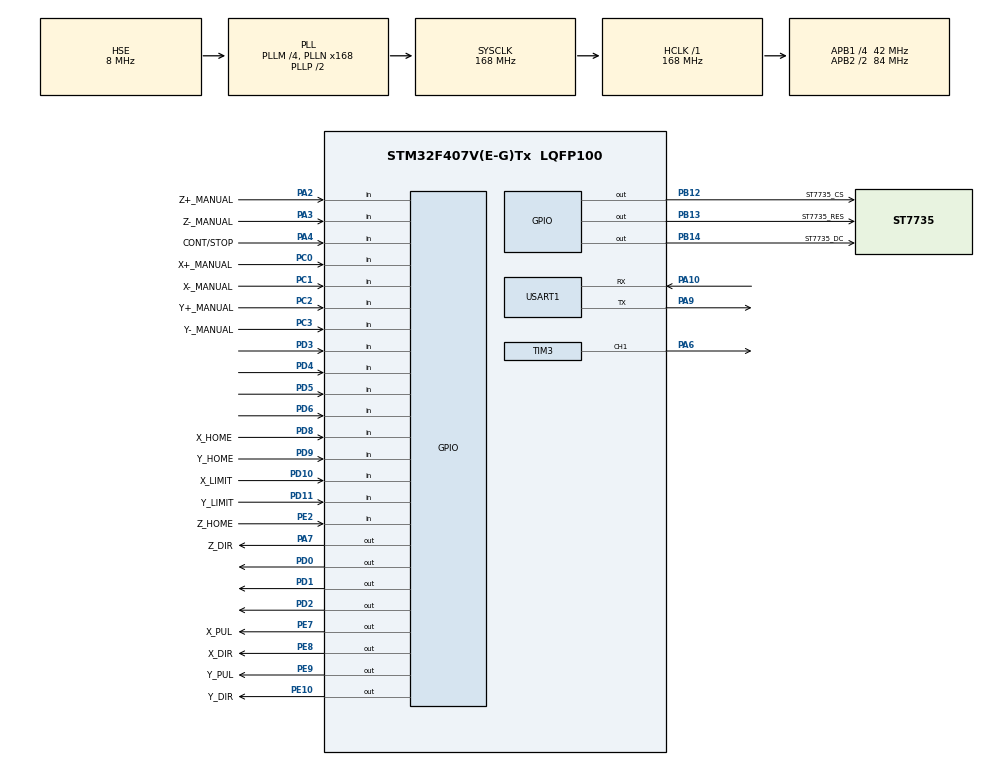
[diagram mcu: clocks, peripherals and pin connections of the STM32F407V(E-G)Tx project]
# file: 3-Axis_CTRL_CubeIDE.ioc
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Mcu.Family=STM32F4
Mcu.Name=STM32F407V(E-G)Tx
Mcu.Package=LQFP100
NVIC.PriorityGroup=NVIC_PRIORITYGROUP_4
NVIC.TIM2_IRQn=true\:0\:0\:false\:false\:true\:true\:true\:true
NVIC.TIM3_IRQn=true\:0\:0\:false\:false\:true\:true\:true\:true
NVIC.USART1_IRQn=true\:0\:0\:false\:false\:true\:true\:true\:true
PA10.Mode=Asynchronous
PA10.Signal=USART1_RX
PA13.Mode=Serial_Wire
PA13.Signal=SYS_JTMS-SWDIO
PA14.Mode=Serial_Wire
PA14.Signal=SYS_JTCK-SWCLK
PA2.GPIO_Label=Z+_MANUAL
PA2.GPIO_PuPd=GPIO_PULLUP
PA2.Signal=GPIO_Input
PA3.GPIO_Label=Z-_MANUAL
PA3.GPIO_PuPd=GPIO_PULLUP
PA3.Signal=GPIO_Input
PA4.GPIO_Label=CONT/STOP
PA4.GPIO_PuPd=GPIO_PULLUP
PA4.Signal=GPIO_Input
PA6.Signal=S_TIM3_CH1
PA7.GPIO_Label=Z_DIR
PA7.GPIO_Speed=GPIO_SPEED_FREQ_VERY_HIGH
PA7.Signal=GPIO_Output
PA9.Mode=Asynchronous
PA9.Signal=USART1_TX
PB12.GPIO_Label=ST7735_CS
PB12.GPIO_Speed=GPIO_SPEED_FREQ_HIGH
PB12.Signal=GPIO_Output
PB13.GPIO_Label=ST7735_RES
PB13.GPIO_Speed=GPIO_SPEED_FREQ_HIGH
PB13.Signal=GPIO_Output
PB14.GPIO_Label=ST7735_DC
PB14.GPIO_Speed=GPIO_SPEED_FREQ_HIGH
PB14.Signal=GPIO_Output
PC0.GPIO_Label=X+_MANUAL
PC0.GPIO_PuPd=GPIO_PULLUP
PC0.Signal=GPIO_Input
PC1.GPIO_Label=X-_MANUAL
PC1.GPIO_PuPd=GPIO_PULLUP
PC1.Signal=GPIO_Input
PC2.GPIO_Label=Y+_MANUAL
PC2.GPIO_PuPd=GPIO_PULLUP
PC2.Signal=GPIO_Input
PC3.GPIO_Label=Y-_MANUAL
PC3.GPIO_PuPd=GPIO_PULLUP
PC3.Signal=GPIO_Input
PD0.Signal=GPIO_Output
PD1.Signal=GPIO_Output
PD10.GPIO_Label=X_LIMIT
PD10.GPIO_PuPd=GPIO_PULLUP
PD10.Signal=GPIO_Input
PD11.GPIO_Label=Y_LIMIT
PD11.GPIO_PuPd=GPIO_PULLUP
PD11.Signal=GPIO_Input
PD2.Signal=GPIO_Output
PD3.GPIO_PuPd=GPIO_PULLUP
PD3.Signal=GPIO_Input
PD4.GPIO_PuPd=GPIO_PULLUP
PD4.Signal=GPIO_Input
PD5.GPIO_PuPd=GPIO_PULLUP
PD5.Signal=GPIO_Input
PD6.GPIO_PuPd=GPIO_PULLUP
PD6.Signal=GPIO_Input
PD8.GPIO_Label=X_HOME
PD8.GPIO_PuPd=GPIO_PULLUP
PD8.Signal=GPIO_Input
PD9.GPIO_Label=Y_HOME
PD9.GPIO_PuPd=GPIO_PULLUP
PD9.Signal=GPIO_Input
PE10.GPIO_Label=Y_DIR
PE10.GPIO_Speed=GPIO_SPEED_FREQ_VERY_HIGH
PE10.Signal=GPIO_Output
PE2.GPIO_Label=Z_HOME
PE2.Signal=GPIO_Input
PE7.GPIO_Label=X_PUL
PE7.GPIO_Speed=GPIO_SPEED_FREQ_VERY_HIGH
PE7.Signal=GPIO_Output
PE8.GPIO_Label=X_DIR
PE8.GPIO_Speed=GPIO_SPEED_FREQ_VERY_HIGH
PE8.Signal=GPIO_Output
PE9.GPIO_Label=Y_PUL
PE9.GPIO_Speed=GPIO_SPEED_FREQ_VERY_HIGH
PE9.Signal=GPIO_Output
PH0-OSC_IN.Mode=HSE-External-Oscillator
PH0-OSC_IN.Signal=RCC_OSC_IN
PH1-OSC_OUT.Mode=HSE-External-Oscillator
PH1-OSC_OUT.Signal=RCC_OSC_OUT
ProjectManager.HeapSize=0x200
ProjectManager.StackSize=0x400
ProjectManager.TargetToolchain=STM32CubeIDE
RCC.48MHZClocksFreq_Value=84000000
RCC.AHBFreq_Value=168000000
RCC.APB1CLKDivider=RCC_HCLK_DIV4
RCC.APB1Freq_Value=42000000
RCC.APB1TimFreq_Value=84000000
RCC.APB2CLKDivider=RCC_HCLK_DIV2
RCC.APB2Freq_Value=84000000
RCC.APB2TimFreq_Value=168000000
RCC.CortexFreq_Value=168000000
RCC.HCLKFreq_Value=168000000
RCC.HSE_VALUE=8000000
RCC.HSI_VALUE=16000000
RCC.LSE_VALUE=32768
RCC.PLLM=4
RCC.PLLN=168
RCC.PLLSourceVirtual=RCC_PLLSOURCE_HSE
RCC.SYSCLKFreq_VALUE=168000000
RCC.SYSCLKSource=RCC_SYSCLKSOURCE_PLLCLK
RCC.VCOOutputFreq_Value=336000000
SH.S_TIM3_CH1.0=TIM3_CH1,PWM Generation1 CH1
TIM2.AutoReloadPreload=TIM_AUTORELOAD_PRELOAD_ENABLE
TIM2.Period=999
TIM2.Prescaler=83
TIM3.AutoReloadPreload=TIM_AUTORELOAD_PRELOAD_ENABLE
TIM3.Channel-PWM\ Generation1\ CH1=TIM_CHANNEL_1
TIM3.Period=999
TIM3.Prescaler=83
USART1.VirtualMode=VM_ASYNC
VP_TIM2_VS_ClockSourceINT.Mode=Internal
VP_TIM3_VS_ClockSourceINT.Mode=Internal
board=custom

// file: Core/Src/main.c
/* USER CODE BEGIN Header */
/**
  ******************************************************************************
  * @file           : main.c
  * @brief          : Main program body
  ******************************************************************************
  * @attention
  *
  * Copyright (c) 2026 STMicroelectronics.
  * All rights reserved.
  *
  * This software is licensed under terms that can be found in the LICENSE file
  * in the root directory of this software component.
  * If no LICENSE file comes with this software, it is provided AS-IS.
  *
  ******************************************************************************
  */
/* USER CODE END Header */
#include "main.h"

/* USER CODE BEGIN Includes */
#include <stdlib.h>
#include <stdio.h>
#include <string.h>
#include <ctype.h>

#include "UART_parser.h"
#include "stepper_v3.h"
/* USER CODE END Includes */

/* USER CODE BEGIN PD */
#define BTN_HOMING_PORT  GPIOD
#define BTN_HOMING_PIN   GPIO_PIN_3  // Nút 1: PD3 -> Homing về gốc

#define BTN_RMLOCK_PORT  GPIOD
#define BTN_RMLOCK_PIN   GPIO_PIN_4  // Nút 2: PD4 -> Gửi lệnh RMLOCK lên RPi

#define BTN_AUTO15_PORT  GPIOD
#define BTN_AUTO15_PIN   GPIO_PIN_5  // Nút 3: PD5 -> Vào chế độ Auto 1.5s

#define BTN_AUTO30_PORT  GPIOD
#define BTN_AUTO30_PIN   GPIO_PIN_6  // Nút 4: PD6 -> Vào chế độ Auto 3s
/* USER CODE END PD */

TIM_HandleTypeDef htim2;
TIM_HandleTypeDef htim3;

UART_HandleTypeDef huart1;

/* USER CODE BEGIN PV */
Command_t my_cmd = {0};

// Vars for stop/continue button
volatile uint8_t is_paused = 0;
volatile uint8_t last_button_state = 1;

typedef enum {
    MODE_NORMAL = 0,    // Mặc định: Mở khóa Manual Jogging, nhận lệnh tự do
    MODE_AUTO_1_5S,     // Khóa Jogging, bắt tay với RPi (Delay 1.5s)
    MODE_AUTO_3S        // Khóa Jogging, bắt tay với RPi (Delay 3s)
} SystemMode_t;

volatile SystemMode_t current_mode = MODE_NORMAL;
uint32_t auto_delay_ms = 0;

/* USER CODE END PV */

void SystemClock_Config(void);
static void MX_GPIO_Init(void);
static void MX_TIM2_Init(void);
static void MX_TIM3_Init(void);
static void MX_USART1_UART_Init(void);
/* USER CODE BEGIN PFP */
void Machine_Wait_Until_Done(void);
void Update_CNC_Display(void);
void Machine_Button_Scan(void);
/* USER CODE END PFP */

int main(void)
{

  /* MCU Configuration--------------------------------------------------------*/

  /* Reset of all peripherals, Initializes the Flash interface and the Systick. */
  HAL_Init();

  /* Configure the system clock */
  SystemClock_Config();

  /* Initialize all configured peripherals */
  MX_GPIO_Init();
  MX_TIM2_Init();
  MX_TIM3_Init();
  MX_USART1_UART_Init();
  /* USER CODE BEGIN 2 */
  char wlc[] = "System ready\n";
  HAL_UART_Transmit(&huart1, (uint8_t*)wlc, strlen(wlc), 100);

  UART_Queue_Init(&huart1);

  /* USER CODE END 2 */

  /* Infinite loop */
  while (1)
  {

	    /* USER CODE BEGIN 3 */
	          // ==============================================================
	          // 1. LIÊN TỤC QUÉT 4 NÚT BẤM ĐỂ GỬI YÊU CẦU LÊN RPi
	          // ==============================================================
	          Machine_Button_Scan();

	          // ==============================================================
	          // 2. XỬ LÝ LỆNH G-CODE TỪ RPi GỬI XUỐNG
	          // ==============================================================
	          if (UART_Parse_Command(&my_cmd) == true && is_paused == 0)
	          {
	              char rcv_msg[] = "CMD received\n";
	              HAL_UART_Transmit(&huart1, (uint8_t*)rcv_msg, strlen(rcv_msg), 100);

	              // Viết hoa toàn bộ chuỗi lệnh
	              for (int i = 0; my_cmd.str[i] != '\0'; i++) {
	                  my_cmd.str[i] = toupper((unsigned char)my_cmd.str[i]);
	              }

	              // KIỂM TRA TỪ KHÓA "LAST" (Báo hiệu đây là lệnh cuối cùng của chu trình)
	              uint8_t is_last_cmd = (strstr(my_cmd.str, "LAST") != NULL) ? 1 : 0;

	              // ==========================================
	              // LỆNH RMLOCK: MỞ KHÓA MÁY
	              // ==========================================
	              if (strncmp(my_cmd.str, "RMLOCK", 6) == 0)
	              {
	                  system_alarm = 0; // MỞ KHÓA MÁY!
	                  if (is_last_cmd) {
	                      //HAL_UART_Transmit(&huart1, (uint8_t*)"FINISH\n", 7, 100);
	                      HAL_UART_Transmit(&huart1, (uint8_t*)"Machine Unlocked. Proceed with caution!\n", 40, 100);
	                  } else {
	                      HAL_UART_Transmit(&huart1, (uint8_t*)"Machine Unlocked. Proceed with caution!\n", 40, 100);
	                  }
	                  my_cmd.is_ready = false;
	              }
	              // ==========================================
	              // G0: HOMING
	              // ==========================================
	              else if (strncmp(my_cmd.str, "G0", 2) == 0)
	              {
	                  Stepper_Homing();       // Homing XY
	                  Stepper_Z_Homing_PWM(); // Homing Z

	                  if (is_last_cmd) {
	                      current_mode = MODE_NORMAL; // Khôi phục chế độ bình thường
	                      //HAL_UART_Transmit(&huart1, (uint8_t*)"FINISH\n", 7, 100);
	                      HAL_UART_Transmit(&huart1, (uint8_t*)"OK: Homing done\n", 16, 100);
	                  } else {
	                      char ack[] = "OK: Homing done\n";
	                      HAL_UART_Transmit(&huart1, (uint8_t*)ack, strlen(ack), 100);
	                  }
	                  my_cmd.is_ready = false;
	              }
	              // ==========================================
	              // G1: DI CHUYỂN TRỤC VÀ BẮT TAY AUTO
	              // ==========================================
	              else if (strncmp(my_cmd.str, "G1", 2) == 0)
	              {
	                  float target_x = current_target_x_mm;
	                  float target_y = current_target_y_mm;
	                  float target_z = current_target_z_deg;
	                  uint8_t move_xy = 0, move_z = 0;

	                  // Tách chuỗi tìm X, Y, Z
	                  char *ptr = my_cmd.str + 2;
	                  while (*ptr != '\0') {
	                      if (*ptr == 'X') { target_x = atof(ptr + 1); move_xy = 1; }
	                      else if (*ptr == 'Y') { target_y = atof(ptr + 1); move_xy = 1; }
	                      else if (*ptr == 'Z') { target_z = atof(ptr + 1); move_z = 1; }
	                      ptr++;
	                  }

	                  current_target_x_mm = target_x;
	                  current_target_y_mm = target_y;
	                  current_target_z_deg = target_z;

	                  if (move_z) { Stepper_Z_GoTo_Degree(target_z); }
	                  if (move_xy) { Stepper_GoTo_mm(target_x, target_y); }

	                  // Chờ động cơ chạy xong hoàn toàn
	                  Machine_Wait_Until_Done();

	                  // [BẮT TAY RPi]: Nếu đang ở Mode Auto thì phải phát lệnh SNAP chụp ảnh
	                  if (current_mode == MODE_AUTO_1_5S || current_mode == MODE_AUTO_3S)
	                  {
	                      HAL_UART_Transmit(&huart1, (uint8_t*)"SNAP\n", 5, 100); // Yêu cầu RPi chụp
	                      HAL_Delay(auto_delay_ms);                               // Đợi camera lưu ảnh

	                      if (is_last_cmd) {
	                          current_mode = MODE_NORMAL; // Chạy xong hết -> nhả máy về Normal
	                          HAL_UART_Transmit(&huart1, (uint8_t*)"FINISH\n", 7, 100); // Báo RPi hạ màn
	                      }
	                  }
	                  else
	                  {
	                      // Ở chế độ Normal thông thường (Manual)
	                      if (is_last_cmd) {
	                          HAL_UART_Transmit(&huart1, (uint8_t*)"FINISH\n", 7, 100);
	                      } else {
	                          char ack[] = "OK: Move done\n";
	                          HAL_UART_Transmit(&huart1, (uint8_t*)ack, strlen(ack), 100);
	                      }
	                  }
	                  my_cmd.is_ready = false;
	              }
	              // ==========================================
	              // G2, G3: NỘI SUY CUNG TRÒN
	              // ==========================================
	              else if (strncmp(my_cmd.str, "G2", 2) == 0 || strncmp(my_cmd.str, "G3", 2) == 0)
	              {
	                  uint8_t is_cw = (my_cmd.str[1] == '2');
	                  float target_x = current_target_x_mm;
	                  float target_y = current_target_y_mm;
	                  float offset_i = 0, offset_j = 0;
	                  uint8_t has_arc_data = 0;

	                  char *ptr = my_cmd.str + 2;
	                  while (*ptr != '\0') {
	                      if (*ptr == 'X') { target_x = atof(ptr + 1); }
	                      else if (*ptr == 'Y') { target_y = atof(ptr + 1); }
	                      else if (*ptr == 'I') { offset_i = atof(ptr + 1); has_arc_data = 1; }
	                      else if (*ptr == 'J') { offset_j = atof(ptr + 1); has_arc_data = 1; }
	                      ptr++;
	                  }

	                  if (has_arc_data) {
	                      Stepper_Arc_mm(target_x, target_y, offset_i, offset_j, is_cw);
	                  }

	                  Machine_Wait_Until_Done();

	                  if (is_last_cmd) {
	                      current_mode = MODE_NORMAL;
	                      HAL_UART_Transmit(&huart1, (uint8_t*)"FINISH\n", 7, 100);
	                  } else {
	                      char ack[] = "ok: Arc Move done\n";
	                      HAL_UART_Transmit(&huart1, (uint8_t*)ack, strlen(ack), 100);
	                  }
	                  my_cmd.is_ready = false;
	              }
	              // ==========================================
	              // LỆNH LỖI / KHÔNG HỢP LỆ
	              // ==========================================
	              else
	              {
	                  char err[] = "error: Unknown command\n";
	                  HAL_UART_Transmit(&huart1, (uint8_t*)err, strlen(err), 100);
	                  my_cmd.is_ready = false;
	              }
	          }

	          // ==============================================================
	          // 3. XỬ LÝ BẺ TAY MANUAL JOGGING (CÓ KHÓA AN TOÀN)
	          // ==============================================================
	          // THÊM ĐIỀU KIỆN 'current_mode == MODE_NORMAL' ĐỂ KHÓA MANUAL KHI CHẠY AUTO
	          if (current_mode == MODE_NORMAL && step_count == 0 && z_step_count == 0 && my_cmd.is_ready == false && is_paused == 0)
	          {
	              int16_t move_x = 0;
	              int16_t move_y = 0;
	              float move_z = 0;

	              // 1. Quét trạng thái nút bấm X, Y
	              if (HAL_GPIO_ReadPin(GPIOC, GPIO_PIN_0) == GPIO_PIN_RESET) move_x = 40;
	              else if (HAL_GPIO_ReadPin(GPIOC, GPIO_PIN_1) == GPIO_PIN_RESET) move_x = -40;

	              if (HAL_GPIO_ReadPin(GPIOC, GPIO_PIN_2) == GPIO_PIN_RESET) move_y = 40;
	              else if (HAL_GPIO_ReadPin(GPIOC, GPIO_PIN_3) == GPIO_PIN_RESET) move_y = -40;

	              // 2. Quét trạng thái nút bấm Z (PA2, PA3)
	              if (HAL_GPIO_ReadPin(GPIOA, GPIO_PIN_2) == GPIO_PIN_RESET) move_z = 1.0f;
	              else if (HAL_GPIO_ReadPin(GPIOA, GPIO_PIN_3) == GPIO_PIN_RESET) move_z = -1.0f;

	              // 3. Ra lệnh chạy trục XY
	              if (move_x != 0 || move_y != 0)
	              {
	                  Stepper_Run_2D(move_x, move_y);
	                  current_target_x_mm = (float)current_pos_x / STEPS_PER_MM_X;
	                  current_target_y_mm = (float)current_pos_y / STEPS_PER_MM_Y;
	              }

	              // 4. Ra lệnh chạy trục Z
	              if (move_z != 0)
	              {
	                  float new_target_z = current_target_z_deg + move_z;
	                  Stepper_Z_GoTo_Degree(new_target_z);
	                  current_target_z_deg = new_target_z;
	              }
	          }
	    }
	    /* USER CODE END 3 */
}

void SystemClock_Config(void)
{
  RCC_OscInitTypeDef RCC_OscInitStruct = {0};
  RCC_ClkInitTypeDef RCC_ClkInitStruct = {0};

  /** Configure the main internal regulator output voltage
  */
  __HAL_RCC_PWR_CLK_ENABLE();
  __HAL_PWR_VOLTAGESCALING_CONFIG(PWR_REGULATOR_VOLTAGE_SCALE1);

  /** Initializes the RCC Oscillators according to the specified parameters
  * in the RCC_OscInitTypeDef structure.
  */
  RCC_OscInitStruct.OscillatorType = RCC_OSCILLATORTYPE_HSE;
  RCC_OscInitStruct.HSEState = RCC_HSE_ON;
  RCC_OscInitStruct.PLL.PLLState = RCC_PLL_ON;
  RCC_OscInitStruct.PLL.PLLSource = RCC_PLLSOURCE_HSE;
  RCC_OscInitStruct.PLL.PLLM = 4;
  RCC_OscInitStruct.PLL.PLLN = 168;
  RCC_OscInitStruct.PLL.PLLP = RCC_PLLP_DIV2;
  RCC_OscInitStruct.PLL.PLLQ = 4;
  if (HAL_RCC_OscConfig(&RCC_OscInitStruct) != HAL_OK)
  {
    Error_Handler();
  }

  /** Initializes the CPU, AHB and APB buses clocks
  */
  RCC_ClkInitStruct.ClockType = RCC_CLOCKTYPE_HCLK|RCC_CLOCKTYPE_SYSCLK
                              |RCC_CLOCKTYPE_PCLK1|RCC_CLOCKTYPE_PCLK2;
  RCC_ClkInitStruct.SYSCLKSource = RCC_SYSCLKSOURCE_PLLCLK;
  RCC_ClkInitStruct.AHBCLKDivider = RCC_SYSCLK_DIV1;
  RCC_ClkInitStruct.APB1CLKDivider = RCC_HCLK_DIV4;
  RCC_ClkInitStruct.APB2CLKDivider = RCC_HCLK_DIV2;

  if (HAL_RCC_ClockConfig(&RCC_ClkInitStruct, FLASH_LATENCY_5) != HAL_OK)
  {
    Error_Handler();
  }
}

static void MX_TIM2_Init(void)
{

  TIM_ClockConfigTypeDef sClockSourceConfig = {0};
  TIM_MasterConfigTypeDef sMasterConfig = {0};

  htim2.Instance = TIM2;
  htim2.Init.Prescaler = 83;
  htim2.Init.CounterMode = TIM_COUNTERMODE_UP;
  htim2.Init.Period = 999;
  htim2.Init.ClockDivision = TIM_CLOCKDIVISION_DIV1;
  htim2.Init.AutoReloadPreload = TIM_AUTORELOAD_PRELOAD_ENABLE;
  if (HAL_TIM_Base_Init(&htim2) != HAL_OK)
  {
    Error_Handler();
  }
  sClockSourceConfig.ClockSource = TIM_CLOCKSOURCE_INTERNAL;
  if (HAL_TIM_ConfigClockSource(&htim2, &sClockSourceConfig) != HAL_OK)
  {
    Error_Handler();
  }
  sMasterConfig.MasterOutputTrigger = TIM_TRGO_RESET;
  sMasterConfig.MasterSlaveMode = TIM_MASTERSLAVEMODE_DISABLE;
  if (HAL_TIMEx_MasterConfigSynchronization(&htim2, &sMasterConfig) != HAL_OK)
  {
    Error_Handler();
  }

}

static void MX_TIM3_Init(void)
{

  TIM_ClockConfigTypeDef sClockSourceConfig = {0};
  TIM_MasterConfigTypeDef sMasterConfig = {0};
  TIM_OC_InitTypeDef sConfigOC = {0};

  htim3.Instance = TIM3;
  htim3.Init.Prescaler = 83;
  htim3.Init.CounterMode = TIM_COUNTERMODE_UP;
  htim3.Init.Period = 999;
  htim3.Init.ClockDivision = TIM_CLOCKDIVISION_DIV1;
  htim3.Init.AutoReloadPreload = TIM_AUTORELOAD_PRELOAD_ENABLE;
  if (HAL_TIM_Base_Init(&htim3) != HAL_OK)
  {
    Error_Handler();
  }
  sClockSourceConfig.ClockSource = TIM_CLOCKSOURCE_INTERNAL;
  if (HAL_TIM_ConfigClockSource(&htim3, &sClockSourceConfig) != HAL_OK)
  {
    Error_Handler();
  }
  if (HAL_TIM_PWM_Init(&htim3) != HAL_OK)
  {
    Error_Handler();
  }
  sMasterConfig.MasterOutputTrigger = TIM_TRGO_RESET;
  sMasterConfig.MasterSlaveMode = TIM_MASTERSLAVEMODE_DISABLE;
  if (HAL_TIMEx_MasterConfigSynchronization(&htim3, &sMasterConfig) != HAL_OK)
  {
    Error_Handler();
  }
  sConfigOC.OCMode = TIM_OCMODE_PWM1;
  sConfigOC.Pulse = 0;
  sConfigOC.OCPolarity = TIM_OCPOLARITY_HIGH;
  sConfigOC.OCFastMode = TIM_OCFAST_DISABLE;
  if (HAL_TIM_PWM_ConfigChannel(&htim3, &sConfigOC, TIM_CHANNEL_1) != HAL_OK)
  {
    Error_Handler();
  }
  HAL_TIM_MspPostInit(&htim3);

}

static void MX_USART1_UART_Init(void)
{

  huart1.Instance = USART1;
  huart1.Init.BaudRate = 115200;
  huart1.Init.WordLength = UART_WORDLENGTH_8B;
  huart1.Init.StopBits = UART_STOPBITS_1;
  huart1.Init.Parity = UART_PARITY_NONE;
  huart1.Init.Mode = UART_MODE_TX_RX;
  huart1.Init.HwFlowCtl = UART_HWCONTROL_NONE;
  huart1.Init.OverSampling = UART_OVERSAMPLING_16;
  if (HAL_UART_Init(&huart1) != HAL_OK)
  {
    Error_Handler();
  }

}

static void MX_GPIO_Init(void)
{
  GPIO_InitTypeDef GPIO_InitStruct = {0};

  /* GPIO Ports Clock Enable */
  __HAL_RCC_GPIOE_CLK_ENABLE();
  __HAL_RCC_GPIOH_CLK_ENABLE();
  __HAL_RCC_GPIOC_CLK_ENABLE();
  __HAL_RCC_GPIOA_CLK_ENABLE();
  __HAL_RCC_GPIOB_CLK_ENABLE();
  __HAL_RCC_GPIOD_CLK_ENABLE();

  /*Configure GPIO pin Output Level */
  HAL_GPIO_WritePin(Z_DIR_GPIO_Port, Z_DIR_Pin, GPIO_PIN_RESET);

  /*Configure GPIO pin Output Level */
  HAL_GPIO_WritePin(GPIOE, X_PUL_Pin|X_DIR_Pin|Y_PUL_Pin|Y_DIR_Pin, GPIO_PIN_RESET);

  /*Configure GPIO pin Output Level */
  HAL_GPIO_WritePin(GPIOB, ST7735_CS_Pin|ST7735_RES_Pin|ST7735_DC_Pin, GPIO_PIN_RESET);

  /*Configure GPIO pin Output Level */
  HAL_GPIO_WritePin(GPIOD, GPIO_PIN_0|GPIO_PIN_1|GPIO_PIN_2, GPIO_PIN_RESET);

  /*Configure GPIO pin : Z_HOME_Pin */
  GPIO_InitStruct.Pin = Z_HOME_Pin;
  GPIO_InitStruct.Mode = GPIO_MODE_INPUT;
  GPIO_InitStruct.Pull = GPIO_NOPULL;
  HAL_GPIO_Init(Z_HOME_GPIO_Port, &GPIO_InitStruct);

  /*Configure GPIO pins : X__MANUAL_Pin X__MANUALC1_Pin Y__MANUAL_Pin Y__MANUALC3_Pin */
  GPIO_InitStruct.Pin = X__MANUAL_Pin|X__MANUALC1_Pin|Y__MANUAL_Pin|Y__MANUALC3_Pin;
  GPIO_InitStruct.Mode = GPIO_MODE_INPUT;
  GPIO_InitStruct.Pull = GPIO_PULLUP;
  HAL_GPIO_Init(GPIOC, &GPIO_InitStruct);

  /*Configure GPIO pins : Z__MANUAL_Pin Z__MANUALA3_Pin CONT_STOP_Pin */
  GPIO_InitStruct.Pin = Z__MANUAL_Pin|Z__MANUALA3_Pin|CONT_STOP_Pin;
  GPIO_InitStruct.Mode = GPIO_MODE_INPUT;
  GPIO_InitStruct.Pull = GPIO_PULLUP;
  HAL_GPIO_Init(GPIOA, &GPIO_InitStruct);

  /*Configure GPIO pin : Z_DIR_Pin */
  GPIO_InitStruct.Pin = Z_DIR_Pin;
  GPIO_InitStruct.Mode = GPIO_MODE_OUTPUT_PP;
  GPIO_InitStruct.Pull = GPIO_NOPULL;
  GPIO_InitStruct.Speed = GPIO_SPEED_FREQ_VERY_HIGH;
  HAL_GPIO_Init(Z_DIR_GPIO_Port, &GPIO_InitStruct);

  /*Configure GPIO pins : X_PUL_Pin X_DIR_Pin Y_PUL_Pin Y_DIR_Pin */
  GPIO_InitStruct.Pin = X_PUL_Pin|X_DIR_Pin|Y_PUL_Pin|Y_DIR_Pin;
  GPIO_InitStruct.Mode = GPIO_MODE_OUTPUT_PP;
  GPIO_InitStruct.Pull = GPIO_NOPULL;
  GPIO_InitStruct.Speed = GPIO_SPEED_FREQ_VERY_HIGH;
  HAL_GPIO_Init(GPIOE, &GPIO_InitStruct);

  /*Configure GPIO pins : ST7735_CS_Pin ST7735_RES_Pin ST7735_DC_Pin */
  GPIO_InitStruct.Pin = ST7735_CS_Pin|ST7735_RES_Pin|ST7735_DC_Pin;
  GPIO_InitStruct.Mode = GPIO_MODE_OUTPUT_PP;
  GPIO_InitStruct.Pull = GPIO_NOPULL;
  GPIO_InitStruct.Speed = GPIO_SPEED_FREQ_HIGH;
  HAL_GPIO_Init(GPIOB, &GPIO_InitStruct);

  /*Configure GPIO pins : X_HOME_Pin Y_HOME_Pin X_LIMIT_Pin Y_LIMIT_Pin
                           PD3 PD4 PD5 PD6 */
  GPIO_InitStruct.Pin = X_HOME_Pin|Y_HOME_Pin|X_LIMIT_Pin|Y_LIMIT_Pin
                          |GPIO_PIN_3|GPIO_PIN_4|GPIO_PIN_5|GPIO_PIN_6;
  GPIO_InitStruct.Mode = GPIO_MODE_INPUT;
  GPIO_InitStruct.Pull = GPIO_PULLUP;
  HAL_GPIO_Init(GPIOD, &GPIO_InitStruct);

  /*Configure GPIO pins : PD0 PD1 PD2 */
  GPIO_InitStruct.Pin = GPIO_PIN_0|GPIO_PIN_1|GPIO_PIN_2;
  GPIO_InitStruct.Mode = GPIO_MODE_OUTPUT_PP;
  GPIO_InitStruct.Pull = GPIO_NOPULL;
  GPIO_InitStruct.Speed = GPIO_SPEED_FREQ_LOW;
  HAL_GPIO_Init(GPIOD, &GPIO_InitStruct);

}

/* USER CODE BEGIN 4 */
/**
  * @brief  Hàm trợ lý cập nhật tọa độ 3 trục lên màn hình TFT bằng DMA (Định thời non-blocking)
  * 		Đồng thời cập nhật trạng thái is-paused = 0/1;
  */
void Machine_Wait_Until_Done(void)
{
    while (z_step_count > 0 || step_count > 0)
    {
        uint8_t current_button_state = HAL_GPIO_ReadPin(GPIOA, GPIO_PIN_4);

		if (system_alarm == 1)
        {
            break;
        }
        if (current_button_state == GPIO_PIN_RESET && last_button_state == GPIO_PIN_SET)
        {
            HAL_Delay(50);
            if (HAL_GPIO_ReadPin(GPIOA, GPIO_PIN_4) == GPIO_PIN_RESET)
            {
                if (is_paused == 0) {
                    HAL_TIM_Base_Stop_IT(&htim2);
                    HAL_TIM_PWM_Stop_IT(&htim3, TIM_CHANNEL_1);
                    is_paused = 1;
                    HAL_UART_Transmit(&huart1, (uint8_t*)"EVENT: Machine Paused\n", 22, 100);
                } else {
                    is_paused = 0;
                    if (step_count > 0) HAL_TIM_Base_Start_IT(&htim2);
                    if (z_step_count > 0) HAL_TIM_PWM_Start_IT(&htim3, TIM_CHANNEL_1);
                    HAL_UART_Transmit(&huart1, (uint8_t*)"EVENT: Machine Resumed\n", 23, 100);
                }
            }
        }
        last_button_state = current_button_state;

        while (is_paused == 1)
        {
            if (HAL_GPIO_ReadPin(GPIOA, GPIO_PIN_4) == GPIO_PIN_RESET)
            {
                HAL_Delay(50);
                if (HAL_GPIO_ReadPin(GPIOA, GPIO_PIN_4) == GPIO_PIN_RESET)
                {
                    is_paused = 0;
                    if (step_count > 0) HAL_TIM_Base_Start_IT(&htim2);
                    if (z_step_count > 0) HAL_TIM_PWM_Start_IT(&htim3, TIM_CHANNEL_1);
                    HAL_UART_Transmit(&huart1, (uint8_t*)"EVENT: Machine Resumed\n", 23, 100);
                    HAL_Delay(200);
                }
            }
        }
    }
}

/**
 * brief
 * Hàm này để xử lý state khi nhấn các nút PD3-7
 */
void Machine_Button_Scan(void) {
    // ---- NÚT 1: YÊU CẦU HOMING (PD3) ----
    if (HAL_GPIO_ReadPin(BTN_HOMING_PORT, BTN_HOMING_PIN) == GPIO_PIN_RESET) {
        HAL_Delay(20); // Chống rung
        if (HAL_GPIO_ReadPin(BTN_HOMING_PORT, BTN_HOMING_PIN) == GPIO_PIN_RESET) {
            //HAL_UART_Transmit(&huart1, (uint8_t*)"REQ:HOMING\n", 11, 100);
            Stepper_Homing();       // Homing XY
            Stepper_Z_Homing_PWM(); // Homing Z
            while (HAL_GPIO_ReadPin(BTN_HOMING_PORT, BTN_HOMING_PIN) == GPIO_PIN_RESET);

        }
    }

    // ---- NÚT 2: YÊU CẦU RMLOCK TRÊN UI (PD4) ----
    if (HAL_GPIO_ReadPin(BTN_RMLOCK_PORT, BTN_RMLOCK_PIN) == GPIO_PIN_RESET) {
        HAL_Delay(20);
        if (HAL_GPIO_ReadPin(BTN_RMLOCK_PORT, BTN_RMLOCK_PIN) == GPIO_PIN_RESET) {
            //HAL_UART_Transmit(&huart1, (uint8_t*)"REQ:RMLOCK\n", 11, 100);
            system_alarm = 0;
            HAL_UART_Transmit(&huart1, (uint8_t*)"Machine Unlocked. Proceed with caution!\n", 40, 100);
            while (HAL_GPIO_ReadPin(BTN_RMLOCK_PORT, BTN_RMLOCK_PIN) == GPIO_PIN_RESET);
        }
    }

    // ---- NÚT 3: YÊU CẦU CHẠY CHU TRÌNH AUTO 1.5S (PD5) ----
    if (HAL_GPIO_ReadPin(BTN_AUTO15_PORT, BTN_AUTO15_PIN) == GPIO_PIN_RESET) {
        HAL_Delay(20);
        if (HAL_GPIO_ReadPin(BTN_AUTO15_PORT, BTN_AUTO15_PIN) == GPIO_PIN_RESET) {
            current_mode = MODE_AUTO_1_5S;
            auto_delay_ms = 1500;
            HAL_UART_Transmit(&huart1, (uint8_t*)"REQ:AUTO_1.5S\n", 14, 100);
            while (HAL_GPIO_ReadPin(BTN_AUTO15_PORT, BTN_AUTO15_PIN) == GPIO_PIN_RESET);
        }
    }

    // ---- NÚT 4: YÊU CẦU CHẠY CHU TRÌNH AUTO 3S (PD6) ----
    if (HAL_GPIO_ReadPin(BTN_AUTO30_PORT, BTN_AUTO30_PIN) == GPIO_PIN_RESET) {
        HAL_Delay(20);
        if (HAL_GPIO_ReadPin(BTN_AUTO30_PORT, BTN_AUTO30_PIN) == GPIO_PIN_RESET) {
            current_mode = MODE_AUTO_3S;
            auto_delay_ms = 3000;
            HAL_UART_Transmit(&huart1, (uint8_t*)"REQ:AUTO_3S\n", 12, 100);
            while (HAL_GPIO_ReadPin(BTN_AUTO30_PORT, BTN_AUTO30_PIN) == GPIO_PIN_RESET);
        }
    }
}

/* USER CODE END 4 */

void Error_Handler(void)
{
  __disable_irq();
  while (1)
  {
  }
}
